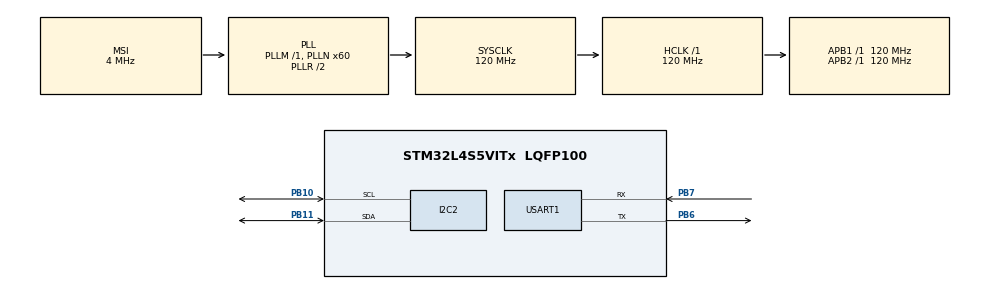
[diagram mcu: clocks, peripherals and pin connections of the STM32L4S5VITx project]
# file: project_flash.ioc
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I2C2.Timing=0x307075B1
Mcu.Family=STM32L4
Mcu.Name=STM32L4S5VITx
Mcu.Package=LQFP100
NVIC.PriorityGroup=NVIC_PRIORITYGROUP_4
OCTOSPI1.MemoryType=HAL_OSPI_MEMTYPE_MACRONIX
PB10.Mode=I2C
PB10.Signal=I2C2_SCL
PB11.Mode=I2C
PB11.Signal=I2C2_SDA
PB6.Mode=Asynchronous
PB6.Signal=USART1_TX
PB7.Mode=Asynchronous
PB7.Signal=USART1_RX
PE10.Signal=OCTOSPIM_P1_CLK
PE11.Signal=OCTOSPIM_P1_NCS
PE12.Signal=OCTOSPIM_P1_IO0
PE13.Signal=OCTOSPIM_P1_IO1
PE14.Signal=OCTOSPIM_P1_IO2
PE15.Signal=OCTOSPIM_P1_IO3
ProjectManager.HeapSize=0x200
ProjectManager.StackSize=0x400
ProjectManager.TargetToolchain=STM32CubeIDE
RCC.ADCFreq_Value=48000000
RCC.AHBFreq_Value=120000000
RCC.APB1Freq_Value=120000000
RCC.APB1TimFreq_Value=120000000
RCC.APB2Freq_Value=120000000
RCC.APB2TimFreq_Value=120000000
RCC.CortexFreq_Value=120000000
RCC.HCLKFreq_Value=120000000
RCC.HSE_VALUE=8000000
RCC.HSI48_VALUE=48000000
RCC.HSI_VALUE=16000000
RCC.MSI_VALUE=4000000
RCC.PLLN=60
RCC.PLLSAI1N=24
RCC.SYSCLKFreq_VALUE=120000000
RCC.SYSCLKSource=RCC_SYSCLKSOURCE_PLLCLK
RCC.USBFreq_Value=48000000
RCC.VCOOutputFreq_Value=240000000
USART1.VirtualMode-Asynchronous=VM_ASYNC
VP_OCTOSPI1_VS_quad.Mode=quad_mode
board=B-L4S5I-IOT01A

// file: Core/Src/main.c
/* USER CODE BEGIN Header */
/**
  ******************************************************************************
  * @file           : main.c
  * @brief          : Main program body
  ******************************************************************************
  * @attention
  *
  * Copyright (c) 2023 STMicroelectronics.
  * All rights reserved.
  *
  * This software is licensed under terms that can be found in the LICENSE file
  * in the root directory of this software component.
  * If no LICENSE file comes with this software, it is provided AS-IS.
  *
  ******************************************************************************
  */
/* USER CODE END Header */
#include "main.h"

/* USER CODE BEGIN Includes */
#include "stm32l4s5i_iot01_accelero.h"
#include "stm32l4s5i_iot01_gyro.h"
#include "stm32l4s5i_iot01_hsensor.h"
#include "stm32l4s5i_iot01_magneto.h"
#include "stm32l4s5i_iot01_psensor.h"
#include "stm32l4s5i_iot01_qspi.h"
#include "stm32l4s5i_iot01_tsensor.h"
/* USER CODE END Includes */

I2C_HandleTypeDef hi2c2;

OSPI_HandleTypeDef hospi1;

UART_HandleTypeDef huart1;

void SystemClock_Config(void);
static void MX_GPIO_Init(void);
static void MX_I2C2_Init(void);
static void MX_OCTOSPI1_Init(void);
static void MX_USART1_UART_Init(void);

int main(void)
{

  /* MCU Configuration--------------------------------------------------------*/

  /* Reset of all peripherals, Initializes the Flash interface and the Systick. */
  HAL_Init();

  /* Configure the system clock */
  SystemClock_Config();

  /* Initialize all configured peripherals */
  MX_GPIO_Init();
  MX_I2C2_Init();
  MX_OCTOSPI1_Init();
  MX_USART1_UART_Init();
  /* USER CODE BEGIN 2 */

  BSP_PSENSOR_Init(); // initialize pressure sensor
//  BSP_HSENSOR_Init(); // initialize humidity sensor
//  BSP_TSENSOR_Init(); // initialize humidity sensor

  if (BSP_QSPI_Init() != QSPI_OK) {
    Error_Handler();
  }

  struct flash_data_type flash_data_write;
  float temp_read;
  float humidity_read;
  float pressure_read;
  int32_t noise_read = 123;

  uint8_t count = 0;

  /* USER CODE END 2 */

  /* Infinite loop */
  while (1)
  {

    /* USER CODE BEGIN 3 */

	  if (count == 3) {
		  uint8_t bitmap_data_1;
		  uint8_t bitmap_data_2;
		  uint8_t bitmap_data_3;
		  uint8_t bitmap_data_4;
		  uint8_t bitmap_data_5;
		  uint8_t bitmap_data_6;

		  if (  BSP_QSPI_Read((uint8_t *)&bitmap_data_1, 0x010000, 1) != QSPI_OK) {
			    Error_Handler();
		  }

		  if (  BSP_QSPI_Read((uint8_t *)&bitmap_data_2, 0x010001, 1) != QSPI_OK) {
			    Error_Handler();
		  }
		  if (  BSP_QSPI_Read((uint8_t *)&bitmap_data_3, 0x010002, 1) != QSPI_OK) {
			    Error_Handler();
		  }
		  if (  BSP_QSPI_Read((uint8_t *)&bitmap_data_4, 0x010003, 1) != QSPI_OK) {
			    Error_Handler();
		  }

		  if (  BSP_QSPI_Read((uint8_t *)&bitmap_data_5, 0x010004, 1) != QSPI_OK) {
			    Error_Handler();
		  }
		  if (  BSP_QSPI_Read((uint8_t *)&bitmap_data_6, 0x010005, 1) != QSPI_OK) {
			    Error_Handler();
		  }

		  uint16_t data_length_111 = readNumOfData_1();
//		  struct flash_data_type buffer[data_length_111];
//		  for (int i = 0; i < data_length_111; i++) {
//			  buffer[i] = readDataBlock1(i);
//		  }
		  uint16_t start_index = readNumOfData_read_1();
		  struct flash_data_type buffer_1[data_length_111];
		  readDataArrayBlock1(start_index, buffer_1, data_length_111);

		  if (  BSP_QSPI_Read((uint8_t *)&bitmap_data_1, 0x010000, 1) != QSPI_OK) {
			    Error_Handler();
		  }

		  if (  BSP_QSPI_Read((uint8_t *)&bitmap_data_2, 0x010001, 1) != QSPI_OK) {
			    Error_Handler();
		  }
		  if (  BSP_QSPI_Read((uint8_t *)&bitmap_data_3, 0x010002, 1) != QSPI_OK) {
			    Error_Handler();
		  }
		  if (  BSP_QSPI_Read((uint8_t *)&bitmap_data_4, 0x010003, 1) != QSPI_OK) {
			    Error_Handler();
		  }

		  if (  BSP_QSPI_Read((uint8_t *)&bitmap_data_5, 0x010004, 1) != QSPI_OK) {
			    Error_Handler();
		  }
		  if (  BSP_QSPI_Read((uint8_t *)&bitmap_data_6, 0x010005, 1) != QSPI_OK) {
			    Error_Handler();
		  }
		  break;
	  }

	  BSP_HSENSOR_Init();
	  humidity_read = (int16_t)BSP_HSENSOR_ReadHumidity();

	  BSP_TSENSOR_Init();
	  temp_read = (int32_t) BSP_TSENSOR_ReadTemp();

	  pressure_read = (int16_t) BSP_PSENSOR_ReadPressure();

	  flash_data_write.humidity = humidity_read;
	  flash_data_write.temperature = temp_read;
	  flash_data_write.pressure = pressure_read;
	  flash_data_write.noise = noise_read;
	  flash_data_write.timestamp = count;

	  uint16_t data_length = readNumOfData_1_write(); // this length is used for writing
	  writeDataToFlash(flash_data_write, data_length, 0);

	  count++;

  }
  /* USER CODE END 3 */
}

void SystemClock_Config(void)
{
  RCC_OscInitTypeDef RCC_OscInitStruct = {0};
  RCC_ClkInitTypeDef RCC_ClkInitStruct = {0};

  /** Configure the main internal regulator output voltage
  */
  if (HAL_PWREx_ControlVoltageScaling(PWR_REGULATOR_VOLTAGE_SCALE1_BOOST) != HAL_OK)
  {
    Error_Handler();
  }

  /** Initializes the RCC Oscillators according to the specified parameters
  * in the RCC_OscInitTypeDef structure.
  */
  RCC_OscInitStruct.OscillatorType = RCC_OSCILLATORTYPE_MSI;
  RCC_OscInitStruct.MSIState = RCC_MSI_ON;
  RCC_OscInitStruct.MSICalibrationValue = 0;
  RCC_OscInitStruct.MSIClockRange = RCC_MSIRANGE_6;
  RCC_OscInitStruct.PLL.PLLState = RCC_PLL_ON;
  RCC_OscInitStruct.PLL.PLLSource = RCC_PLLSOURCE_MSI;
  RCC_OscInitStruct.PLL.PLLM = 1;
  RCC_OscInitStruct.PLL.PLLN = 60;
  RCC_OscInitStruct.PLL.PLLP = RCC_PLLP_DIV2;
  RCC_OscInitStruct.PLL.PLLQ = RCC_PLLQ_DIV2;
  RCC_OscInitStruct.PLL.PLLR = RCC_PLLR_DIV2;
  if (HAL_RCC_OscConfig(&RCC_OscInitStruct) != HAL_OK)
  {
    Error_Handler();
  }

  /** Initializes the CPU, AHB and APB buses clocks
  */
  RCC_ClkInitStruct.ClockType = RCC_CLOCKTYPE_HCLK|RCC_CLOCKTYPE_SYSCLK
                              |RCC_CLOCKTYPE_PCLK1|RCC_CLOCKTYPE_PCLK2;
  RCC_ClkInitStruct.SYSCLKSource = RCC_SYSCLKSOURCE_PLLCLK;
  RCC_ClkInitStruct.AHBCLKDivider = RCC_SYSCLK_DIV1;
  RCC_ClkInitStruct.APB1CLKDivider = RCC_HCLK_DIV1;
  RCC_ClkInitStruct.APB2CLKDivider = RCC_HCLK_DIV1;

  if (HAL_RCC_ClockConfig(&RCC_ClkInitStruct, FLASH_LATENCY_5) != HAL_OK)
  {
    Error_Handler();
  }
}

static void MX_I2C2_Init(void)
{

  hi2c2.Instance = I2C2;
  hi2c2.Init.Timing = 0x307075B1;
  hi2c2.Init.OwnAddress1 = 0;
  hi2c2.Init.AddressingMode = I2C_ADDRESSINGMODE_7BIT;
  hi2c2.Init.DualAddressMode = I2C_DUALADDRESS_DISABLE;
  hi2c2.Init.OwnAddress2 = 0;
  hi2c2.Init.OwnAddress2Masks = I2C_OA2_NOMASK;
  hi2c2.Init.GeneralCallMode = I2C_GENERALCALL_DISABLE;
  hi2c2.Init.NoStretchMode = I2C_NOSTRETCH_DISABLE;
  if (HAL_I2C_Init(&hi2c2) != HAL_OK)
  {
    Error_Handler();
  }

  /** Configure Analogue filter
  */
  if (HAL_I2CEx_ConfigAnalogFilter(&hi2c2, I2C_ANALOGFILTER_ENABLE) != HAL_OK)
  {
    Error_Handler();
  }

  /** Configure Digital filter
  */
  if (HAL_I2CEx_ConfigDigitalFilter(&hi2c2, 0) != HAL_OK)
  {
    Error_Handler();
  }

}

static void MX_OCTOSPI1_Init(void)
{

  /* OCTOSPI1 parameter configuration*/
  hospi1.Instance = OCTOSPI1;
  hospi1.Init.FifoThreshold = 1;
  hospi1.Init.DualQuad = HAL_OSPI_DUALQUAD_DISABLE;
  hospi1.Init.MemoryType = HAL_OSPI_MEMTYPE_MACRONIX;
  hospi1.Init.DeviceSize = 32;
  hospi1.Init.ChipSelectHighTime = 1;
  hospi1.Init.FreeRunningClock = HAL_OSPI_FREERUNCLK_DISABLE;
  hospi1.Init.ClockMode = HAL_OSPI_CLOCK_MODE_0;
  hospi1.Init.ClockPrescaler = 1;
  hospi1.Init.SampleShifting = HAL_OSPI_SAMPLE_SHIFTING_NONE;
  hospi1.Init.DelayHoldQuarterCycle = HAL_OSPI_DHQC_DISABLE;
  hospi1.Init.ChipSelectBoundary = 0;
  hospi1.Init.DelayBlockBypass = HAL_OSPI_DELAY_BLOCK_BYPASSED;
  if (HAL_OSPI_Init(&hospi1) != HAL_OK)
  {
    Error_Handler();
  }

}

static void MX_USART1_UART_Init(void)
{

  huart1.Instance = USART1;
  huart1.Init.BaudRate = 115200;
  huart1.Init.WordLength = UART_WORDLENGTH_8B;
  huart1.Init.StopBits = UART_STOPBITS_1;
  huart1.Init.Parity = UART_PARITY_NONE;
  huart1.Init.Mode = UART_MODE_TX_RX;
  huart1.Init.HwFlowCtl = UART_HWCONTROL_NONE;
  huart1.Init.OverSampling = UART_OVERSAMPLING_16;
  huart1.Init.OneBitSampling = UART_ONE_BIT_SAMPLE_DISABLE;
  huart1.Init.ClockPrescaler = UART_PRESCALER_DIV1;
  huart1.AdvancedInit.AdvFeatureInit = UART_ADVFEATURE_NO_INIT;
  if (HAL_UART_Init(&huart1) != HAL_OK)
  {
    Error_Handler();
  }
  if (HAL_UARTEx_SetTxFifoThreshold(&huart1, UART_TXFIFO_THRESHOLD_1_8) != HAL_OK)
  {
    Error_Handler();
  }
  if (HAL_UARTEx_SetRxFifoThreshold(&huart1, UART_RXFIFO_THRESHOLD_1_8) != HAL_OK)
  {
    Error_Handler();
  }
  if (HAL_UARTEx_DisableFifoMode(&huart1) != HAL_OK)
  {
    Error_Handler();
  }

}

static void MX_GPIO_Init(void)
{

  /* GPIO Ports Clock Enable */
  __HAL_RCC_GPIOE_CLK_ENABLE();
  __HAL_RCC_GPIOB_CLK_ENABLE();

}

void Error_Handler(void)
{
  __disable_irq();
  while (1)
  {
  }
}
